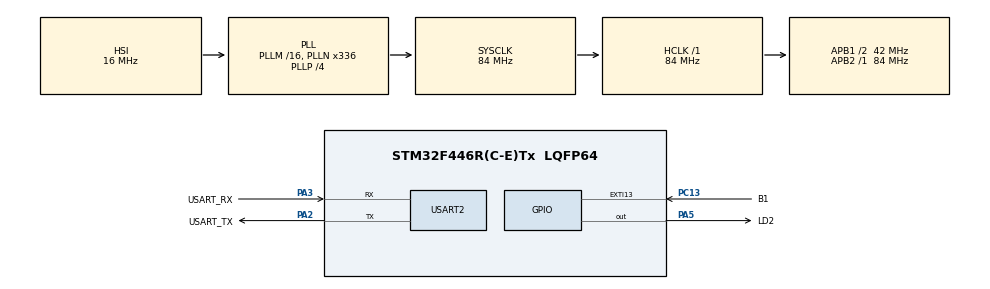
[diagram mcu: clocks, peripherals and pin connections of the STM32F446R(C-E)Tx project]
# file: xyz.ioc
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IWDG.Prescaler=IWDG_PRESCALER_64
IWDG.Reload=1000
Mcu.Family=STM32F4
Mcu.Name=STM32F446R(C-E)Tx
Mcu.Package=LQFP64
NVIC.PriorityGroup=NVIC_PRIORITYGROUP_0
NVIC.TIM6_DAC_IRQn=true\:0\:0\:false\:false\:true\:true\:true\:true
NVIC.USART2_IRQn=true\:0\:0\:false\:false\:true\:true\:true\:true
PA13.GPIO_Label=TMS
PA13.Mode=Serial_Wire
PA13.Signal=SYS_JTMS-SWDIO
PA14.GPIO_Label=TCK
PA14.Mode=Serial_Wire
PA14.Signal=SYS_JTCK-SWCLK
PA2.GPIO_Label=USART_TX
PA2.Mode=Asynchronous
PA2.Signal=USART2_TX
PA3.GPIO_Label=USART_RX
PA3.Mode=Asynchronous
PA3.Signal=USART2_RX
PA5.GPIO_Label=LD2
PA5.Signal=GPIO_Output
PB3.GPIO_Label=SWO
PB3.Signal=SYS_JTDO-SWO
PC13.GPIO_Label=B1
PC13.GPIO_ModeDefaultEXTI=GPIO_MODE_IT_FALLING
PC13.Signal=GPXTI13
PC14-OSC32_IN.Mode=LSE-External-Oscillator
PC14-OSC32_IN.Signal=RCC_OSC32_IN
PC15-OSC32_OUT.Mode=LSE-External-Oscillator
PC15-OSC32_OUT.Signal=RCC_OSC32_OUT
PH0-OSC_IN.Mode=HSE-External-Oscillator
PH0-OSC_IN.Signal=RCC_OSC_IN
PH1-OSC_OUT.Mode=HSE-External-Oscillator
PH1-OSC_OUT.Signal=RCC_OSC_OUT
ProjectManager.HeapSize=0x200
ProjectManager.StackSize=0x400
ProjectManager.TargetToolchain=STM32CubeIDE
RCC.48MHZClocksFreq_Value=84000000
RCC.AHBFreq_Value=84000000
RCC.APB1CLKDivider=RCC_HCLK_DIV2
RCC.APB1Freq_Value=42000000
RCC.APB1TimFreq_Value=84000000
RCC.APB2Freq_Value=84000000
RCC.APB2TimFreq_Value=84000000
RCC.CortexFreq_Value=84000000
RCC.FLatency-AdvancedSettings=FLASH_LATENCY_2
RCC.HCLKFreq_Value=84000000
RCC.HSE_VALUE=8000000
RCC.HSI_VALUE=16000000
RCC.PLLN=336
RCC.PLLP=RCC_PLLP_DIV4
RCC.SYSCLKFreq_VALUE=84000000
RCC.SYSCLKSource=RCC_SYSCLKSOURCE_PLLCLK
RCC.USBFreq_Value=168000000
RCC.VCOOutputFreq_Value=336000000
TIM6.Period=9
TIM6.Prescaler=8399
USART2.VirtualMode=VM_ASYNC
VP_IWDG_VS_IWDG.Mode=IWDG_Activate
VP_TIM6_VS_ClockSourceINT.Mode=Enable_Timer
board=NUCLEO-F446RE

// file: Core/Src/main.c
/* USER CODE BEGIN Header */
/**
  ******************************************************************************
  * @file           : main.c
  * @brief          : Main program body
  ******************************************************************************
  * @attention
  *
  * Copyright (c) 2026 STMicroelectronics.
  * All rights reserved.
  *
  * This software is licensed under terms that can be found in the LICENSE file
  * in the root directory of this software component.
  * If no LICENSE file comes with this software, it is provided AS-IS.
  *
  ******************************************************************************
  */
/* USER CODE END Header */
#include "main.h"

/* USER CODE BEGIN Includes */
#include <string.h>
#include <stdlib.h>
#include <stdio.h>
#include <stdarg.h>
#include <ctype.h>
/* USER CODE END Includes */

IWDG_HandleTypeDef hiwdg;

TIM_HandleTypeDef htim6;

UART_HandleTypeDef huart2;

/* USER CODE BEGIN PV */
/* ====== TIMER TIMEBASE ====== */
volatile uint32_t g_ms = 0;

/* ====== DELAY / BLINK ====== */
volatile uint32_t delay_until_ms = 0;
volatile uint8_t  blink_enabled = 0;
volatile uint32_t blink_halfperiod_ms = 0;
volatile uint32_t blink_next_toggle_ms = 0;

/* ====== UART RX RING BUFFER ====== */
#define RX_RING_SIZE 256
volatile uint8_t rx_ring[RX_RING_SIZE];
volatile uint16_t rx_head = 0;
volatile uint16_t rx_tail = 0;
uint8_t rx_it_byte = 0;

/* ====== COMMAND PARSING ====== */
#define CMD_MAX_LEN  128
#define CMD_Q_SIZE   8

char cmd_q[CMD_Q_SIZE][CMD_MAX_LEN];
volatile uint8_t cmd_q_h = 0, cmd_q_t = 0, cmd_q_count = 0;

char cmd_build[CMD_MAX_LEN];
uint16_t cmd_build_len = 0;

/* USER CODE END PV */

void SystemClock_Config(void);
static void MX_GPIO_Init(void);
static void MX_USART2_UART_Init(void);
static void MX_TIM6_Init(void);
static void MX_IWDG_Init(void);

/* USER CODE BEGIN 0 */
/* ====== LED helpers ====== */
static void led_on(void)      { HAL_GPIO_WritePin(LD2_GPIO_Port, LD2_Pin, GPIO_PIN_SET); }
static void led_off(void)     { HAL_GPIO_WritePin(LD2_GPIO_Port, LD2_Pin, GPIO_PIN_RESET); }
static void led_toggle(void)  { HAL_GPIO_TogglePin(LD2_GPIO_Port, LD2_Pin); }

/* ====== UART printf (proste) ====== */
static void uart_printf(const char *fmt, ...)
{
    char buf[256];
    va_list ap;
    va_start(ap, fmt);
    vsnprintf(buf, sizeof(buf), fmt, ap);
    va_end(ap);
    HAL_UART_Transmit(&huart2, (uint8_t*)buf, (uint16_t)strlen(buf), 100);
}

/* ====== RX ring ====== */
static void rx_ring_push(uint8_t b)
{
    uint16_t next = (uint16_t)((rx_head + 1) % RX_RING_SIZE);
    if (next == rx_tail)
    {
        /* overflow – gubimy bajt (na lab może być OK), albo możesz wysłać błąd */
        return;
    }
    rx_ring[rx_head] = b;
    rx_head = next;
}

static int rx_ring_pop(uint8_t *out)
{
    if (rx_tail == rx_head) return 0;
    *out = rx_ring[rx_tail];
    rx_tail = (uint16_t)((rx_tail + 1) % RX_RING_SIZE);
    return 1;
}

/* ====== CMD queue ====== */
static void cmdq_push(const char *cmd)
{
    if (cmd_q_count >= CMD_Q_SIZE)
    {
        uart_printf("blad: kolejka komend pelna\r\n");
        return;
    }
    strncpy(cmd_q[cmd_q_t], cmd, CMD_MAX_LEN - 1);
    cmd_q[cmd_q_t][CMD_MAX_LEN - 1] = 0;
    cmd_q_t = (uint8_t)((cmd_q_t + 1) % CMD_Q_SIZE);
    cmd_q_count++;
}

static int cmdq_pop(char *out)
{
    if (cmd_q_count == 0) return 0;
    strncpy(out, cmd_q[cmd_q_h], CMD_MAX_LEN - 1);
    out[CMD_MAX_LEN - 1] = 0;
    cmd_q_h = (uint8_t)((cmd_q_h + 1) % CMD_Q_SIZE);
    cmd_q_count--;
    return 1;
}

/* ====== string helpers ====== */
static void trim(char *s)
{
    int len = (int)strlen(s);
    while (len > 0 && isspace((unsigned char)s[len - 1])) s[--len] = 0;
    int start = 0;
    while (s[start] && isspace((unsigned char)s[start])) start++;
    if (start > 0) memmove(s, s + start, strlen(s + start) + 1);
}

static int starts_with(const char *s, const char *p)
{
    return strncmp(s, p, strlen(p)) == 0;
}

/* ====== command handler ====== */
static void handle_command(char *cmd)
{
    trim(cmd);
    if (cmd[0] == 0) return;

    if (strcmp(cmd, "LED[ON]") == 0)
    {
        blink_enabled = 0;
        led_on();
        uart_printf("OK: LED ON\r\n");
        return;
    }

    if (strcmp(cmd, "LED[OFF]") == 0)
    {
        blink_enabled = 0;
        led_off();
        uart_printf("OK: LED OFF\r\n");
        return;
    }

    if (starts_with(cmd, "LED[DELAY,"))
    {
        char *comma = strchr(cmd, ',');
        char *endbr = strchr(cmd, ']');
        if (!comma || !endbr || endbr < comma)
        {
            uart_printf("blad: komenda nie rozpoznana -> %s\r\n", cmd);
            return;
        }

        long x = strtol(comma + 1, NULL, 10);
        if (x < 0 || x > 600000)
        {
            uart_printf("blad: komenda nie rozpoznana -> %s\r\n", cmd);
            return;
        }

        delay_until_ms = g_ms + (uint32_t)x;
        uart_printf("OK: Delay %ld ms\r\n", x);
        return;
    }

    if (starts_with(cmd, "LED[BLINK,"))
    {
        char *comma = strchr(cmd, ',');
        char *endbr = strchr(cmd, ']');
        if (!comma || !endbr || endbr < comma)
        {
            uart_printf("blad: komenda nie rozpoznana -> %s\r\n", cmd);
            return;
        }

        long z = strtol(comma + 1, NULL, 10);
        if (z <= 0 || z > 50)
        {
            uart_printf("blad: komenda nie rozpoznana -> %s\r\n", cmd);
            return;
        }

        blink_halfperiod_ms = (uint32_t)(1000UL / (2UL * (uint32_t)z));
        if (blink_halfperiod_ms == 0) blink_halfperiod_ms = 1;

        blink_enabled = 1;
        blink_next_toggle_ms = g_ms + blink_halfperiod_ms;

        uart_printf("OK: BLINK %ld Hz\r\n", z);
        return;
    }

    uart_printf("blad: komenda nie rozpoznana -> %s\r\n", cmd);
}

/* ====== parse incoming bytes into commands separated by ';' ====== */
static void process_uart_bytes(void)
{
    uint8_t b;
    while (rx_ring_pop(&b))
    {
        if (b == '\r' || b == '\n') continue;

        if (b == ';')
        {
            cmd_build[cmd_build_len] = 0;
            cmdq_push(cmd_build);
            cmd_build_len = 0;
        }
        else
        {
            if (cmd_build_len < CMD_MAX_LEN - 1)
            {
                cmd_build[cmd_build_len++] = (char)b;
            }
            else
            {
                /* za długa komenda – czyścimy */
                cmd_build_len = 0;
                memset(cmd_build, 0, CMD_MAX_LEN);
                uart_printf("blad: komenda za dluga\r\n");
            }
        }
    }
}
/* USER CODE END 0 */

int main(void)
{

  /* MCU Configuration--------------------------------------------------------*/

  /* Reset of all peripherals, Initializes the Flash interface and the Systick. */
  HAL_Init();

  /* Configure the system clock */
  SystemClock_Config();

  /* Initialize all configured peripherals */
  MX_GPIO_Init();
  MX_USART2_UART_Init();
  MX_TIM6_Init();
  MX_IWDG_Init();
  /* USER CODE BEGIN 2 */
  HAL_TIM_Base_Start_IT(&htim6);

  /* start RX interrupt 1 byte */
  HAL_UART_Receive_IT(&huart2, &rx_it_byte, 1);

  uart_printf("Witaj, jestem Nucleo STM32!!\r\n");

  /* USER CODE END 2 */

  /* Infinite loop */
  while (1)
  {

    /* USER CODE BEGIN 3 */
	  HAL_IWDG_Refresh(&hiwdg);
	  /* zbierz bajty z ringa i zbuduj komendy */
	  process_uart_bytes();

	  /* jeśli aktywny delay – nie wykonuj kolejnych komend */
	  if (delay_until_ms != 0)
	  {
	      if (g_ms >= delay_until_ms) delay_until_ms = 0;
	      else continue;
	  }

	  /* wykonuj kolejkę komend */
	  char cmd[CMD_MAX_LEN];
	  if (cmdq_pop(cmd))
	  {
	      handle_command(cmd);
	  }

  }
  /* USER CODE END 3 */
}

void SystemClock_Config(void)
{
  RCC_OscInitTypeDef RCC_OscInitStruct = {0};
  RCC_ClkInitTypeDef RCC_ClkInitStruct = {0};

  /** Configure the main internal regulator output voltage
  */
  __HAL_RCC_PWR_CLK_ENABLE();
  __HAL_PWR_VOLTAGESCALING_CONFIG(PWR_REGULATOR_VOLTAGE_SCALE3);

  /** Initializes the RCC Oscillators according to the specified parameters
  * in the RCC_OscInitTypeDef structure.
  */
  RCC_OscInitStruct.OscillatorType = RCC_OSCILLATORTYPE_HSI|RCC_OSCILLATORTYPE_LSI;
  RCC_OscInitStruct.HSIState = RCC_HSI_ON;
  RCC_OscInitStruct.HSICalibrationValue = RCC_HSICALIBRATION_DEFAULT;
  RCC_OscInitStruct.LSIState = RCC_LSI_ON;
  RCC_OscInitStruct.PLL.PLLState = RCC_PLL_ON;
  RCC_OscInitStruct.PLL.PLLSource = RCC_PLLSOURCE_HSI;
  RCC_OscInitStruct.PLL.PLLM = 16;
  RCC_OscInitStruct.PLL.PLLN = 336;
  RCC_OscInitStruct.PLL.PLLP = RCC_PLLP_DIV4;
  RCC_OscInitStruct.PLL.PLLQ = 2;
  RCC_OscInitStruct.PLL.PLLR = 2;
  if (HAL_RCC_OscConfig(&RCC_OscInitStruct) != HAL_OK)
  {
    Error_Handler();
  }

  /** Initializes the CPU, AHB and APB buses clocks
  */
  RCC_ClkInitStruct.ClockType = RCC_CLOCKTYPE_HCLK|RCC_CLOCKTYPE_SYSCLK
                              |RCC_CLOCKTYPE_PCLK1|RCC_CLOCKTYPE_PCLK2;
  RCC_ClkInitStruct.SYSCLKSource = RCC_SYSCLKSOURCE_PLLCLK;
  RCC_ClkInitStruct.AHBCLKDivider = RCC_SYSCLK_DIV1;
  RCC_ClkInitStruct.APB1CLKDivider = RCC_HCLK_DIV2;
  RCC_ClkInitStruct.APB2CLKDivider = RCC_HCLK_DIV1;

  if (HAL_RCC_ClockConfig(&RCC_ClkInitStruct, FLASH_LATENCY_2) != HAL_OK)
  {
    Error_Handler();
  }
}

static void MX_IWDG_Init(void)
{

  hiwdg.Instance = IWDG;
  hiwdg.Init.Prescaler = IWDG_PRESCALER_64;
  hiwdg.Init.Reload = 1000;
  if (HAL_IWDG_Init(&hiwdg) != HAL_OK)
  {
    Error_Handler();
  }

}

static void MX_TIM6_Init(void)
{

  TIM_MasterConfigTypeDef sMasterConfig = {0};

  htim6.Instance = TIM6;
  htim6.Init.Prescaler = 8399;
  htim6.Init.CounterMode = TIM_COUNTERMODE_UP;
  htim6.Init.Period = 9;
  htim6.Init.AutoReloadPreload = TIM_AUTORELOAD_PRELOAD_DISABLE;
  if (HAL_TIM_Base_Init(&htim6) != HAL_OK)
  {
    Error_Handler();
  }
  sMasterConfig.MasterOutputTrigger = TIM_TRGO_RESET;
  sMasterConfig.MasterSlaveMode = TIM_MASTERSLAVEMODE_DISABLE;
  if (HAL_TIMEx_MasterConfigSynchronization(&htim6, &sMasterConfig) != HAL_OK)
  {
    Error_Handler();
  }

}

static void MX_USART2_UART_Init(void)
{

  huart2.Instance = USART2;
  huart2.Init.BaudRate = 115200;
  huart2.Init.WordLength = UART_WORDLENGTH_8B;
  huart2.Init.StopBits = UART_STOPBITS_1;
  huart2.Init.Parity = UART_PARITY_NONE;
  huart2.Init.Mode = UART_MODE_TX_RX;
  huart2.Init.HwFlowCtl = UART_HWCONTROL_NONE;
  huart2.Init.OverSampling = UART_OVERSAMPLING_16;
  if (HAL_UART_Init(&huart2) != HAL_OK)
  {
    Error_Handler();
  }

}

static void MX_GPIO_Init(void)
{
  GPIO_InitTypeDef GPIO_InitStruct = {0};

  /* GPIO Ports Clock Enable */
  __HAL_RCC_GPIOC_CLK_ENABLE();
  __HAL_RCC_GPIOH_CLK_ENABLE();
  __HAL_RCC_GPIOA_CLK_ENABLE();
  __HAL_RCC_GPIOB_CLK_ENABLE();

  /*Configure GPIO pin Output Level */
  HAL_GPIO_WritePin(LD2_GPIO_Port, LD2_Pin, GPIO_PIN_RESET);

  /*Configure GPIO pin : B1_Pin */
  GPIO_InitStruct.Pin = B1_Pin;
  GPIO_InitStruct.Mode = GPIO_MODE_IT_FALLING;
  GPIO_InitStruct.Pull = GPIO_NOPULL;
  HAL_GPIO_Init(B1_GPIO_Port, &GPIO_InitStruct);

  /*Configure GPIO pin : LD2_Pin */
  GPIO_InitStruct.Pin = LD2_Pin;
  GPIO_InitStruct.Mode = GPIO_MODE_OUTPUT_PP;
  GPIO_InitStruct.Pull = GPIO_NOPULL;
  GPIO_InitStruct.Speed = GPIO_SPEED_FREQ_LOW;
  HAL_GPIO_Init(LD2_GPIO_Port, &GPIO_InitStruct);

}

/* USER CODE BEGIN 4 */
void HAL_TIM_PeriodElapsedCallback(TIM_HandleTypeDef *htim)
{
    if (htim->Instance == TIM6)
    {
        g_ms++;

        if (blink_enabled && blink_halfperiod_ms > 0)
        {
            if (g_ms >= blink_next_toggle_ms)
            {
                blink_next_toggle_ms = g_ms + blink_halfperiod_ms;
                led_toggle();
            }
        }
    }
}

void HAL_UART_RxCpltCallback(UART_HandleTypeDef *huart)
{
    if (huart->Instance == USART2)
    {
        rx_ring_push(rx_it_byte);
        HAL_UART_Receive_IT(&huart2, &rx_it_byte, 1);
    }
}

/* USER CODE END 4 */

void Error_Handler(void)
{
  __disable_irq();
  while (1)
  {
  }
}
